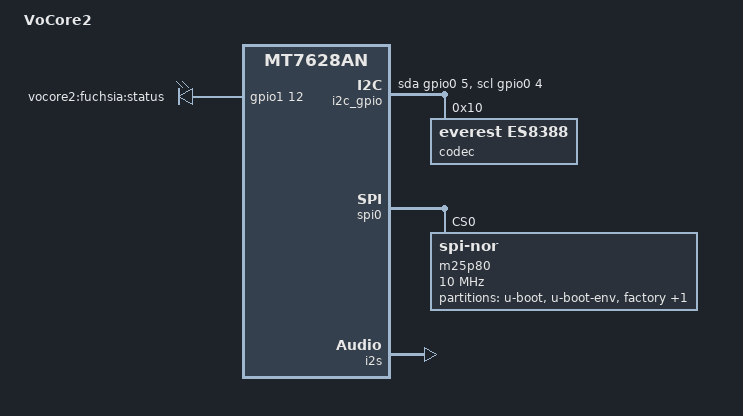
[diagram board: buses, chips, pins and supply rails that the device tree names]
/dts-v1/;

#include "VOCORE2.dtsi"

#include <dt-bindings/gpio/gpio.h>

/ {
	compatible = "vocore,vocore2", "mediatek,mt7628an-soc";
	model = "VoCore2";

	aliases {
		led-status = &led_status;
	};

	gpio-leds {
		compatible = "gpio-leds";

		led_status: status {
			label = "vocore2:fuchsia:status";
			gpios = <&gpio1 12 GPIO_ACTIVE_HIGH>;
		};
	};

	i2c_gpio: i2c-gpio {
		compatible = "i2c-gpio";

		gpios = <&gpio0 5 0
			 &gpio0 4 0>;
		i2c-gpio,delay-us = <5>;

		codec: es8388@10 {
			compatible = "everest,es8388";
			reg = <0x10>;

			#sound-dai-cells = <0>;

			status = "okay";
		};
	};

	sound {
		compatible = "simple-audio-card";
		simple-audio-card,name = "audio_i2s";
		simple-audio-card,format = "i2s";
		simple-audio-card,bitclock-master = <&dailink_master>;
		simple-audio-card,frame-master = <&dailink_master>;
		simple-audio-card,widgets =
			"Headphone", "Headphones",
			"Microphone", "Mic";
		simple-audio-card,routing =
			"Headphones", "LOUT1",
			"Headphones", "ROUT1",
			"LINPUT1", "Mic";

		dailink_master: simple-audio-card,cpu {
			sound-dai = <&i2s>;
		};

		simple-audio-card,codec {
			sound-dai = <&codec>;
		};
	};
};

&spi0 {
	status = "okay";

	m25p80@0 {
		compatible = "jedec,spi-nor";
		reg = <0>;
		spi-max-frequency = <10000000>;
		m25p,chunked-io = <32>;

		partitions {
			compatible = "fixed-partitions";
			#address-cells = <1>;
			#size-cells = <1>;

			partition@0 {
				label = "u-boot";
				reg = <0x0 0x30000>;
				read-only;
			};

			partition@30000 {
				label = "u-boot-env";
				reg = <0x30000 0x10000>;
				read-only;
			};

			factory: partition@40000 {
				label = "factory";
				reg = <0x40000 0x10000>;
				read-only;
			};

			partition@50000 {
				label = "firmware";
				reg = <0x50000 0xfb0000>;
			};
		};
	};
};

&pinctrl {
	state_default: pinctrl0 {
		gpio {
			ralink,group = "i2c";
			ralink,function = "gpio";
		};
	};
};

&i2s {
	pinctrl-names = "default";
	pinctrl-0 = <&i2s_pins>, <&gpio_refclk_pins>;

	#sound-dai-cells = <0>;

	status = "okay";
};
